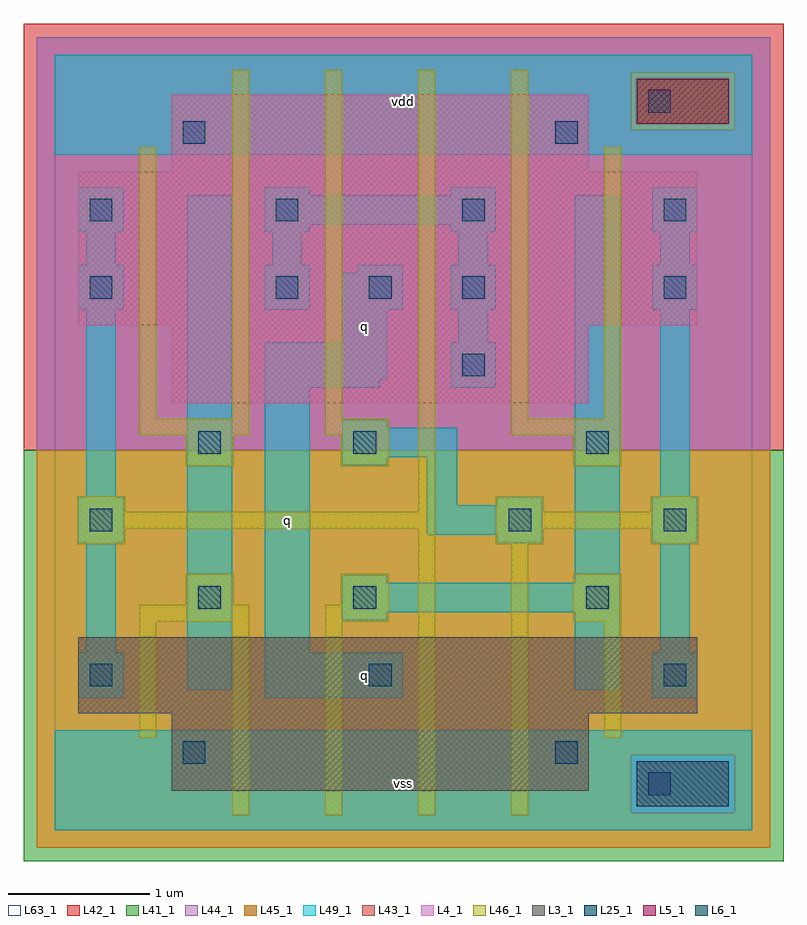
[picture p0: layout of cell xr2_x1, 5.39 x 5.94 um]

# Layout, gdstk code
import gdstk
lib = gdstk.Library(unit=1e-6, precision=1e-09)
def R(c, l, rs):  # rectangles x0, y0, x1, y1
    for r in rs: c.add(gdstk.rectangle(r[:2], r[2:], *l))
def A(c, l, x, y, w, h, nx, ny, dx, dy):  # array of equal rectangles
    R(c, l, [(x+i*dx, y+j*dy, x+i*dx+w, y+j*dy+h) for i in range(nx) for j in range(ny)])
L3_1 = (3, 1)
L4_1 = (4, 1)
L5_1 = (5, 1)
L6_1 = (6, 1)
L25_1 = (25, 1)
L41_1 = (41, 1)
L42_1 = (42, 1)
L43_1 = (43, 1)
L44_1 = (44, 1)
L45_1 = (45, 1)
L46_1 = (46, 1)
L49_1 = (49, 1)
L63_1 = (63, 1)

xr2_x1 = lib.new_cell('xr2_x1')
R(xr2_x1, L3_1, [(0.83,0.28,3.79,0.83), (0.17,0.83,4.56,1.37)])
R(xr2_x1, L4_1, [(0.83,3.03,3.79,3.58), (0.17,3.58,4.56,4.67), (0.83,4.67,3.79,5.22)])
R(xr2_x1, L5_1, [(4.13,5.01,4.78,5.33)])
R(xr2_x1, L6_1, [(4.13,0.17,4.78,0.49)])
A(xr2_x1, L25_1, 1.57, 3.77, 0.16, 0.16, 3, 1, 0.66, 0)
A(xr2_x1, L25_1, 0.25, 4.32, 0.16, 0.16, 3, 1, 1.32, 0)
R(xr2_x1, L25_1, [(4.21,0.25,4.37,0.41), (0.91,0.47,1.07,0.63), (3.55,0.47,3.71,0.63), (0.25,1.02,0.41,1.18), (2.23,1.02,2.39,1.18), (4.32,1.02,4.48,1.18), (1.02,1.57,1.18,1.73), (2.12,1.57,2.28,1.73), (3.77,1.57,3.93,1.73), (0.25,2.12,0.41,2.28), (3.22,2.12,3.38,2.28), (4.32,2.12,4.48,2.28), (1.02,2.67,1.18,2.83), (2.12,2.67,2.28,2.83), (3.77,2.67,3.93,2.83), (2.89,3.22,3.05,3.38), (0.25,3.77,0.41,3.93), (4.32,3.77,4.48,3.93), (4.32,4.32,4.48,4.48), (0.91,4.87,1.07,5.03), (3.55,4.87,3.71,5.03), (4.21,5.09,4.37,5.25)])
R(xr2_x1, L41_1, [(-0.22,-0.22,5.17,2.695)])
R(xr2_x1, L42_1, [(-0.22,2.695,5.17,5.72)])
R(xr2_x1, L43_1, [(4.13,0.17,4.78,0.49), (0.83,0.28,3.79,0.83), (0.17,0.83,4.56,1.37), (0.83,3.03,3.79,3.58), (0.17,3.58,4.56,4.67), (0.83,4.67,3.79,5.22), (4.13,5.01,4.78,5.33)])
R(xr2_x1, L44_1, [(4.085,0.125,4.825,0.535), (-0.125,2.695,5.075,4.965), (-0.125,4.965,4.085,5.375), (4.825,4.965,5.075,5.375), (-0.125,5.375,5.075,5.625)])
R(xr2_x1, L45_1, [(-0.125,-0.125,5.075,0.125), (-0.125,0.125,4.085,0.535), (4.825,0.125,5.075,0.535), (-0.125,0.535,5.075,2.695), (4.085,4.965,4.825,5.375)])
R(xr2_x1, L46_1, [(1.26,0.105,1.38,1.48), (1.92,0.105,2.04,1.48), (2.58,0.105,2.7,2.14), (3.24,0.105,3.36,2.03), (0.6,0.655,0.72,1.48), (3.9,0.655,4.02,1.48), (0.6,1.48,1.38,1.6), (1.92,1.48,2.37,1.6), (3.68,1.48,4.02,1.82), (0.93,1.6,1.27,1.82), (2.03,1.6,2.37,1.82), (0.16,2.03,0.5,2.14), (3.13,2.03,3.47,2.14), (4.23,2.03,4.57,2.14), (0.16,2.14,2.7,2.26), (3.13,2.14,4.57,2.26), (0.16,2.26,0.5,2.37), (2.58,2.26,2.7,5.395), (3.13,2.26,3.47,2.37), (4.23,2.26,4.57,2.37), (0.93,2.58,1.27,2.8), (2.03,2.58,2.37,2.8), (3.68,2.58,4.02,2.8), (0.6,2.8,1.38,2.92), (1.92,2.8,2.37,2.92), (3.24,2.8,4.02,2.92), (0.6,2.92,0.72,4.845), (1.26,2.92,1.38,5.395), (1.92,2.92,2.04,5.395), (3.24,2.92,3.36,5.395), (3.9,2.92,4.02,4.845)])
A(xr2_x1, L49_1, 0.17, 3.69, 0.32, 0.32, 3, 1, 1.32, 0)
A(xr2_x1, L49_1, 0.225, 4.01, 0.21, 0.23, 3, 1, 1.32, 0)
R(xr2_x1, L49_1, [(0,0,4.95,0.71), (0.17,0.94,0.49,1.26), (1.49,0.94,2.47,1.26), (4.24,0.94,4.56,1.26), (0.94,0.995,1.26,4.505), (3.69,0.995,4.01,1.545), (0.225,1.26,0.435,2.04), (1.49,1.26,1.81,3.14), (4.295,1.26,4.505,2.04), (2.04,1.49,2.36,1.545), (2.04,1.545,4.01,1.755), (2.04,1.755,2.36,1.81), (3.69,1.755,4.01,4.505), (0.17,2.04,0.49,2.36), (3.14,2.04,3.46,2.095), (4.24,2.04,4.56,2.36), (2.645,2.095,3.46,2.305), (2.645,2.305,2.855,2.645), (3.14,2.305,3.46,2.36), (0.225,2.36,0.435,3.69), (4.295,2.36,4.505,3.69), (2.04,2.59,2.36,2.645), (2.04,2.645,2.855,2.855), (2.04,2.855,2.36,2.91), (1.49,3.14,2.305,3.195), (2.81,3.14,3.13,3.46), (1.49,3.195,2.36,3.46), (2.04,3.46,2.36,3.69), (2.865,3.46,3.075,3.69), (2.04,3.69,2.47,3.955), (4.24,3.69,4.56,4.01), (2.15,3.955,2.47,4.01), (4.295,4.01,4.505,4.24), (0.17,4.24,0.49,4.56), (1.49,4.24,1.81,4.295), (2.81,4.24,3.13,4.295), (4.24,4.24,4.56,4.56), (1.49,4.295,3.13,4.505), (1.49,4.505,1.81,4.56), (2.81,4.505,3.13,4.56), (0,4.79,4.95,5.5)])
R(xr2_x1, L63_1, [(0,0,4.95,5.5)])
xr2_x1.add(gdstk.Label('q', (1.65,2.2), layer=49, texttype=1))
xr2_x1.add(gdstk.Label('q', (1.65,2.2), layer=49, texttype=1))
xr2_x1.add(gdstk.Label('vss', (2.475,0.33), layer=49, texttype=1))
xr2_x1.add(gdstk.Label('vss', (2.475,0.33), layer=49, texttype=1))
xr2_x1.add(gdstk.Label('q', (2.2,1.1), layer=49, texttype=1))
xr2_x1.add(gdstk.Label('q', (2.2,1.1), layer=49, texttype=1))
xr2_x1.add(gdstk.Label('q', (2.2,3.575), layer=49, texttype=1))
xr2_x1.add(gdstk.Label('q', (2.2,3.575), layer=49, texttype=1))
xr2_x1.add(gdstk.Label('vdd', (2.475,5.17), layer=49, texttype=1))
xr2_x1.add(gdstk.Label('vdd', (2.475,5.17), layer=49, texttype=1))

lib.write_gds('xr2_x1.gds')
